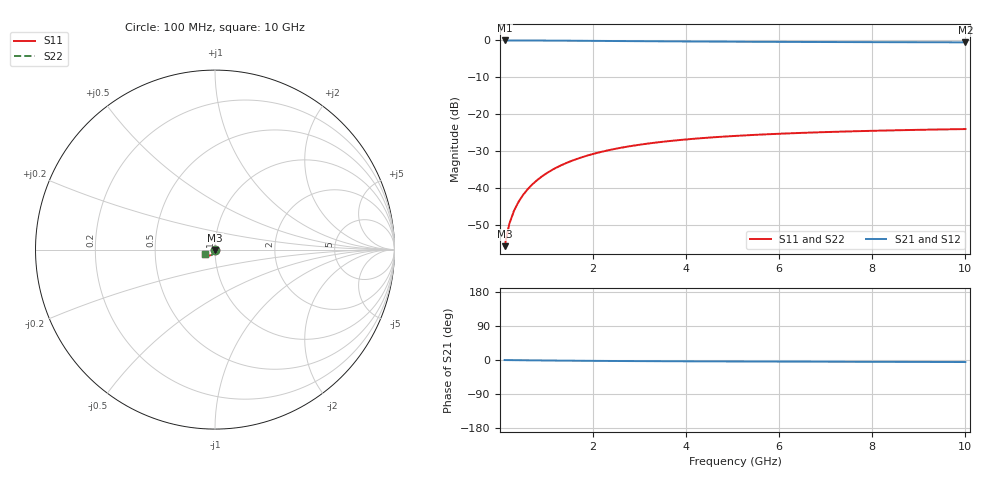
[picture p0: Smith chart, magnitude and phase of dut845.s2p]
! Touchstone file exported from HFSS 2024.1.0
!  File:  C:/UserFiles/LocalFiles/RDL_TSV_Batchsim/temp_TSV1_845_1779880482.aedt
!  Generated:  07:19:28 PM May 27, 2026
!  Design:  TSV1
!  Project:  temp_TSV1_845_1779880482
!  Setup:  Setup1
!  Solution:  Sweep
! Variables:
!  dtsv = 12.18um
!  hbump = 3um
!  htsv = 82.63um
!  lrdl = 252.1521522um
!  p = 40
!  p1 = 41.33um
!  t = 500um
!  trdl = 3um
!  wrdl = 24.89489489um
# GHz S MA R 50.000000
! Terminal data exported
! Port[1] = TSV22_T1
! Port[2] = TSV22_T2
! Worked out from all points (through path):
!   100 points, 100 MHz to 10 GHz, reference 50 ohm
!   highest |S21| = 0.00 dB at 100 MHz (marker M1); lowest = -0.5 dB at 10 GHz (marker M2)
!   lowest |S11| = -55.8 dB at 100 MHz (marker M3), VSWR 1.00, Z = 50 - j0.161 ohm
!   |S11| at or under -10 dB: start of sweep to end of sweep
!   |S22| runs from -55.8 to -24.1 dB; largest |S21 - S12| = 2.1e-15
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0.1  0.001614 -87.8  0.9998 -0.1  0.9998 -0.1  0.001614 -87.8
! Gamma 0 0 0 0
! Port Impedance 50 0 50 0
0.2  0.00323 -90.8  0.9997 -0.3  0.9997 -0.3  0.00323 -90.8
0.3  0.004847 -92.9  0.9995 -0.4  0.9995 -0.4  0.004847 -92.9
0.4  0.006458 -94.6  0.9992 -0.5  0.9992 -0.5  0.006458 -94.6
0.5  0.008055 -96.3  0.9988 -0.7  0.9988 -0.7  0.008055 -96.3
0.6  0.009636 -97.9  0.9984 -0.8  0.9984 -0.8  0.009636 -97.9
0.7  0.0112 -99.4  0.9979 -0.9  0.9979 -0.9  0.0112 -99.4
0.8  0.01274 -100.9  0.9973 -1.0  0.9973 -1.0  0.01274 -100.9
0.9  0.01425 -102.3  0.9966 -1.2  0.9966 -1.2  0.01425 -102.3
1.1  0.01719 -105.1  0.9952 -1.4  0.9952 -1.4  0.01719 -105.1
1.4  0.02137 -109.1  0.9927 -1.7  0.9927 -1.7  0.02137 -109.1
1.6  0.02398 -111.7  0.9909 -1.9  0.9909 -1.9  0.02398 -111.7
1.8  0.02646 -114.1  0.989 -2.1  0.989 -2.1  0.02646 -114.1
2.1  0.0299 -117.5  0.9861 -2.3  0.9861 -2.3  0.0299 -117.5
2.5  0.03401 -121.6  0.9822 -2.6  0.9822 -2.6  0.03401 -121.6
2.9  0.03761 -125.3  0.9784 -2.9  0.9784 -2.9  0.03761 -125.3
3.4  0.04147 -129.4  0.9739 -3.2  0.9739 -3.2  0.04147 -129.4
4.2  0.04647 -134.9  0.9675 -3.5  0.9675 -3.5  0.04647 -134.9
5.1  0.0508 -140.0  0.9615 -3.9  0.9615 -3.9  0.0508 -140.0
6.7  0.05626 -146.7  0.9533 -4.4  0.9533 -4.4  0.05626 -146.7
8.4  0.06015 -152.0  0.9473 -4.9  0.9473 -4.9  0.06015 -152.0
10  0.06271 -155.8  0.9431 -5.4  0.9431 -5.4  0.06271 -155.8
